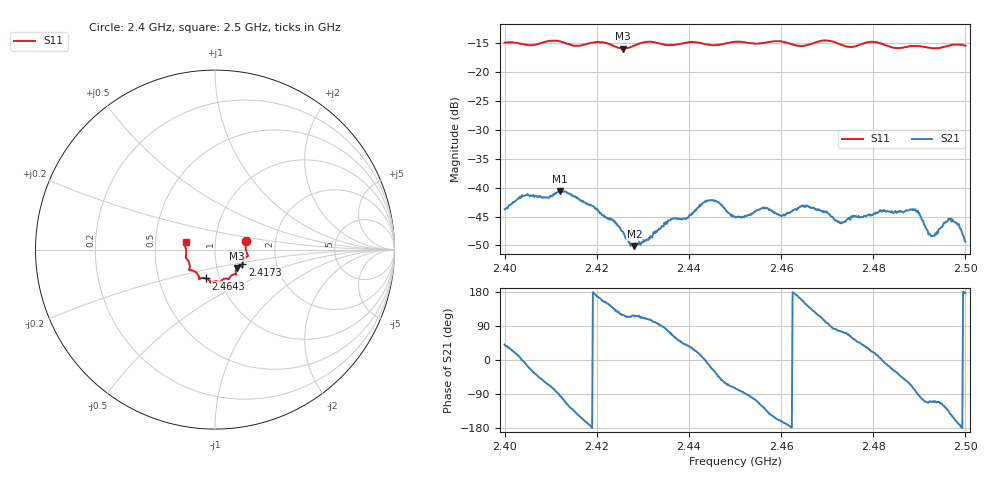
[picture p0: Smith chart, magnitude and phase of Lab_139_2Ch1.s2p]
# Hz S RI R 50
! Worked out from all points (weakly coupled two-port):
!   601 points, 2.4 GHz to 2.5 GHz, reference 50 ohm
!   highest |S21| = -40.57 dB at 2.412 GHz (marker M1); lowest = -50.1 dB at 2.4282 GHz (marker M2)
!   lowest |S11| = -15.9 dB at 2.4257 GHz (marker M3), VSWR 1.38, Z = 62.5 - j13.1 ohm
!   |S11| at or under -10 dB: start of sweep to end of sweep
!   S12 and S22 are empty: the file has one direction only
!   S11 on the Smith chart (normalised r, x): 2.4 GHz: 1.41, +0.14; 2.4173 GHz: 1.34, -0.23; 2.4643 GHz: 0.86, -0.28; 2.5 GHz: 0.72, +0.06
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2.4e9  0.1732 0.0486  0.00495 0.00422  0 0  0 0
2.404333e9  0.1715 0.0222  0.00852 -0.000947  0 0  0 0
2.409333e9  0.1826 -0.0306  0.00367 -0.00736  0 0  0 0
2.412e9  0.1808 -0.0377  -0.000779 -0.00933  0 0  0 0
2.416667e9  0.1528 -0.075  -0.00685 -0.00355  0 0  0 0
2.417333e9  0.1517 -0.0824  -0.00702 -0.00251  0 0  0 0
2.425667e9  0.123 -0.102  -0.00201 0.00364  0 0  0 0
2.428167e9  0.1149 -0.1248  -0.0013 0.00283  0 0  0 0
2.433333e9  0.1129 -0.1375  -0.000317 0.00428  0 0  0 0
2.4445e9  0.0595 -0.1613  0.00751 -0.00207  0 0  0 0
2.45e9  0.0289 -0.1809  0.00154 -0.00536  0 0  0 0
2.4565e9  -0.0103 -0.1792  -0.00414 -0.00516  0 0  0 0
2.460333e9  -0.025 -0.1818  -0.00548 -0.00159  0 0  0 0
2.464333e9  -0.0502 -0.1604  -0.0064 0.00243  0 0  0 0
2.466667e9  -0.0761 -0.1589  -0.00453 0.00488  0 0  0 0
2.473e9  -0.0908 -0.147  0.00124 0.00474  0 0  0 0
2.483333e9  -0.1409 -0.0899  0.00598 -0.0017  0 0  0 0
2.489167e9  -0.1627 -0.0444  0.000962 -0.00641  0 0  0 0
2.492833e9  -0.1603 -0.0162  -0.00126 -0.0036  0 0  0 0
2.496833e9  -0.169 0.0257  -0.00437 -0.00318  0 0  0 0
2.4985e9  -0.1697 0.0346  -0.00477 -0.000925  0 0  0 0
2.5e9  -0.164 0.0424  -0.0034 0.000181  0 0  0 0
